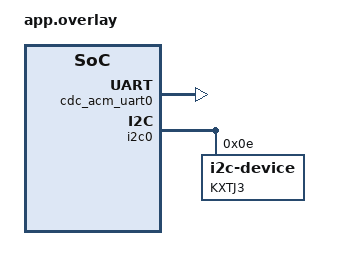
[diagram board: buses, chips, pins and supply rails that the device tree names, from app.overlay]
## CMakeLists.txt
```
cmake_minimum_required(VERSION 3.13.1)
find_package(Zephyr REQUIRED HINTS $ENV{ZEPHYR_BASE})
project(2026-05-31_KXTJ3_CBOR_USB)

target_sources(app PRIVATE
    src/main.c
    drivers/kxtj3/kxtj3.c
)

target_include_directories(app PRIVATE drivers/kxtj3)
```

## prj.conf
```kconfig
CONFIG_I2C=y

# USB CDC-ACM
CONFIG_USB_DEVICE_STACK=y
CONFIG_USB_DEVICE_PRODUCT="KXTJ3 CBOR Stream"
CONFIG_USB_DEVICE_VID=0x2FE3
CONFIG_USB_DEVICE_PID=0x0103
CONFIG_USB_CDC_ACM=y
CONFIG_UART_LINE_CTRL=y
CONFIG_UART_CONSOLE=y

# Shell over USB
CONFIG_SHELL=y
CONFIG_SHELL_BACKEND_SERIAL=y

# CBOR encoder
CONFIG_ZCBOR=y
CONFIG_ZCBOR_STOP_ON_ERROR=y

# Logging
CONFIG_LOG=y
CONFIG_LOG_DEFAULT_LEVEL=3
CONFIG_LOG_BACKEND_UART=y
CONFIG_COMMON_LIBC_MALLOC_ARENA_SIZE=0
```

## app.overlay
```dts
/*
 * Wire KXTJ3-1057:
 *   VDD  -> 3.3V
 *   GND  -> GND
 *   SDA  -> P0.26
 *   SCL  -> P0.27
 *   ADDR -> GND  (I2C address = 0x0E)
 */

/ {
	chosen {
		zephyr,console    = &cdc_acm_uart0;
		zephyr,shell-uart = &cdc_acm_uart0;
	};
};

&zephyr_udc0 {
	cdc_acm_uart0: cdc_acm_uart0 {
		compatible = "zephyr,cdc-acm-uart";
		label = "CDC_ACM_0";
	};
};

&i2c0 {
	status = "okay";
	kxtj3: kxtj3@e {
		compatible = "i2c-device";
		reg = <0x0e>;
		label = "KXTJ3";
	};
};
```

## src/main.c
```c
#include <zephyr/kernel.h>
#include <zephyr/usb/usb_device.h>
#include <zephyr/drivers/uart.h>
#include <zephyr/drivers/i2c.h>
#include <zephyr/shell/shell.h>
#include <zephyr/logging/log.h>
#include <zcbor_encode.h>
#include <stdlib.h>
#include "kxtj3.h"

LOG_MODULE_REGISTER(day16, LOG_LEVEL_INF);

static const struct device *i2c_dev  = DEVICE_DT_GET(DT_NODELABEL(i2c0));
static const struct device *usb_uart = DEVICE_DT_GET(DT_NODELABEL(cdc_acm_uart0));

#define KXTJ3_ADDR   KXTJ3_ADDR_LOW
#define CBOR_BUF_LEN 64

static uint32_t seq_num;
static uint8_t  current_range_g = 2;

/* Send raw bytes followed by newline as frame delimiter */
static void usb_send(const uint8_t *data, size_t len)
{
    for (size_t i = 0; i < len; i++) {
        uart_poll_out(usb_uart, data[i]);
    }
    uart_poll_out(usb_uart, '\n');
}

/*
 * Encode one accelerometer reading as a CBOR map:
 * { "seq": uint, "x": int, "y": int, "z": int, "rng": uint }
 */
static int encode_and_send(const struct shell *sh)
{
    struct kxtj3_data data;
    int rc = kxtj3_read(i2c_dev, KXTJ3_ADDR, &data);
    if (rc) {
        if (sh) shell_error(sh, "Sensor read failed: %d", rc);
        return rc;
    }

    uint8_t buf[CBOR_BUF_LEN];
    ZCBOR_STATE_E(states, 2, buf, sizeof(buf), 1);

    bool ok = zcbor_map_start_encode(states, 5)
           && zcbor_tstr_put_lit(states, "seq") && zcbor_uint32_put(states, seq_num)
           && zcbor_tstr_put_lit(states, "x")   && zcbor_int32_put(states, data.x_mg)
           && zcbor_tstr_put_lit(states, "y")   && zcbor_int32_put(states, data.y_mg)
           && zcbor_tstr_put_lit(states, "z")   && zcbor_int32_put(states, data.z_mg)
           && zcbor_tstr_put_lit(states, "rng") && zcbor_uint32_put(states, current_range_g)
           && zcbor_map_end_encode(states, 5);

    if (!ok) {
        if (sh) shell_error(sh, "CBOR encode failed");
        return -ENOMEM;
    }

    size_t len = (size_t)(states[0].payload - buf);
    usb_send(buf, len);
    seq_num++;
    return 0;
}

/* accel whoami */
static int cmd_accel_whoami(const struct shell *sh, size_t argc, char **argv)
{
    uint8_t id;
    int rc = kxtj3_who_am_i(i2c_dev, KXTJ3_ADDR, &id);
    if (rc) {
        shell_error(sh, "I2C error: %d", rc);
        return rc;
    }
    if (id == KXTJ3_WHO_AM_I_VAL) {
        shell_print(sh, "WHO_AM_I = 0x%02X  OK (KXTJ3-1057 detected)", id);
    } else {
        shell_error(sh, "WHO_AM_I = 0x%02X  UNEXPECTED (want 0x%02X)", id, KXTJ3_WHO_AM_I_VAL);
    }
    return 0;
}

/* accel read — plain text single reading */
static int cmd_accel_read(const struct shell *sh, size_t argc, char **argv)
{
    struct kxtj3_data data;
    int rc = kxtj3_read(i2c_dev, KXTJ3_ADDR, &data);
    if (rc) {
        shell_error(sh, "Read failed: %d", rc);
        return rc;
    }
    shell_print(sh, "X: %5d mg    Y: %5d mg    Z: %5d mg", data.x_mg, data.y_mg, data.z_mg);
    return 0;
}

/* accel cbor — single CBOR-encoded frame over USB */
static int cmd_accel_cbor(const struct shell *sh, size_t argc, char **argv)
{
    int rc = encode_and_send(sh);
    if (rc == 0) {
        shell_print(sh, "CBOR frame sent (seq=%u)", seq_num - 1);
    }
    return rc;
}

/* accel stream <count> — send n CBOR frames at 200 ms intervals */
static int cmd_accel_stream(const struct shell *sh, size_t argc, char **argv)
{
    int n = (argc >= 2) ? atoi(argv[1]) : 10;
    if (n <= 0 || n > 1000) {
        shell_error(sh, "count must be 1–1000");
        return -EINVAL;
    }

    shell_print(sh, "Streaming %d CBOR frames...", n);
    for (int i = 0; i < n; i++) {
        encode_and_send(sh);
        k_msleep(200);
    }
    shell_print(sh, "Stream done. %d frames sent.", n);
    return 0;
}

/* accel range <2|4|8|16> */
static int cmd_accel_range(const struct shell *sh, size_t argc, char **argv)
{
    if (argc < 2) {
        shell_error(sh, "Usage: accel range <2|4|8|16>");
        return -EINVAL;
    }
    int g = atoi(argv[1]);
    if (g != 2 && g != 4 && g != 8 && g != 16) {
        shell_error(sh, "Valid ranges: 2, 4, 8, 16");
        return -EINVAL;
    }
    int rc = kxtj3_set_range(i2c_dev, KXTJ3_ADDR, (uint8_t)g);
    if (rc == 0) {
        current_range_g = (uint8_t)g;
        shell_print(sh, "Range set to ±%dg", g);
    } else {
        shell_error(sh, "Failed: %d", rc);
    }
    return rc;
}

SHELL_STATIC_SUBCMD_SET_CREATE(accel_cmds,
    SHELL_CMD(whoami, NULL, "Read WHO_AM_I register",           cmd_accel_whoami),
    SHELL_CMD(read,   NULL, "Single reading as plain text",     cmd_accel_read),
    SHELL_CMD(cbor,   NULL, "Send one CBOR frame over USB",     cmd_accel_cbor),
    SHELL_CMD(stream, NULL, "Stream CBOR frames: stream <n>",   cmd_accel_stream),
    SHELL_CMD(range,  NULL, "Set range: range <2|4|8|16>",      cmd_accel_range),
    SHELL_SUBCMD_SET_END
);

SHELL_CMD_REGISTER(accel, &accel_cmds, "KXTJ3-1057 accelerometer commands", NULL);

int main(void)
{
    if (!device_is_ready(i2c_dev)) {
        LOG_ERR("I2C not ready");
        return;
    }

    if (!device_is_ready(usb_uart) || usb_enable(NULL) != 0) {
        LOG_ERR("USB init failed");
        return;
    }

    uint32_t dtr = 0;
    while (!dtr) {
        uart_line_ctrl_get(usb_uart, UART_LINE_CTRL_DTR, &dtr);
        k_msleep(100);
    }

    LOG_INF("Day 16: USB CBOR shell ready");

    if (kxtj3_init(i2c_dev, KXTJ3_ADDR) != 0) {
        LOG_ERR("KXTJ3 init failed — check wiring");
    } else {
        LOG_INF("KXTJ3 ready — type 'accel help'");
    }
    return 0;
}
```
